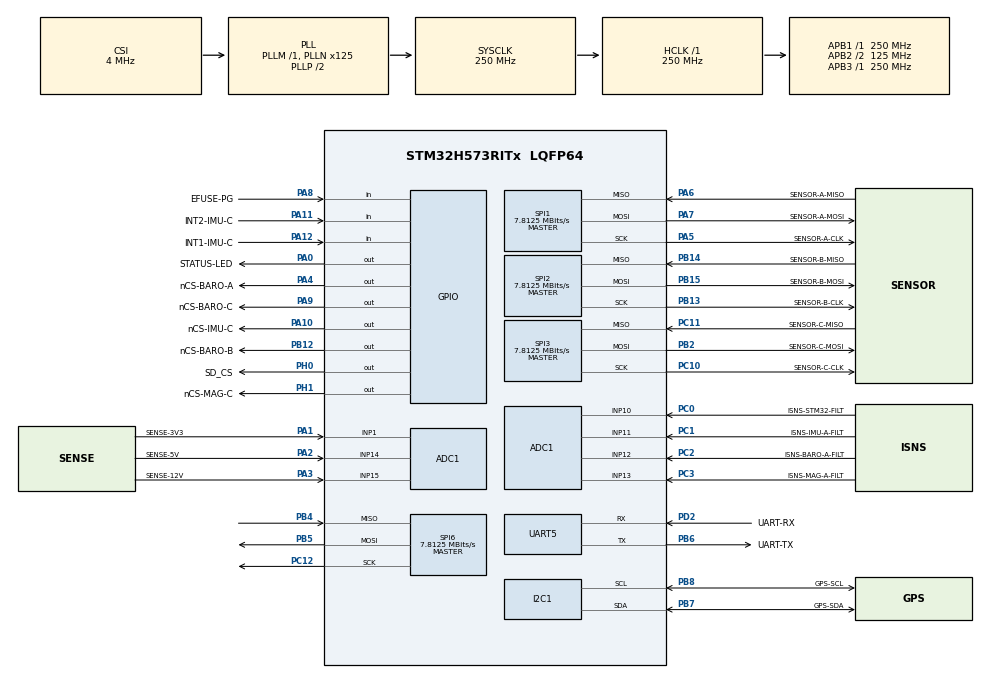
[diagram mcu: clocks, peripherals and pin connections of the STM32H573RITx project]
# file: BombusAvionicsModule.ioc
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ADC1.Channel-0\#ChannelRegularConversion=ADC_CHANNEL_13
ADC1.MonitoredBy-0\#ChannelRegularConversion=__NULL
ADC1.NbrOfConversionFlag=1
ADC1.OffsetNumber-0\#ChannelRegularConversion=ADC_OFFSET_NONE
ADC1.Rank-0\#ChannelRegularConversion=1
ADC1.SamplingTime-0\#ChannelRegularConversion=ADC_SAMPLETIME_2CYCLES_5
ADC1.master=1
BOOTPATH.BootPathName=LEGACY
BOOTPATH.UserSelectedBootPath=LEGACY
CORTEX_M33_NS.Number-Cortex_Memory_Protection_Unit_Region0_OTP_RO_AREAS_Settings=MPU_REGION_NUMBER0
CORTEX_M33_NS.default_mode_Activation=1
CORTEX_M33_NS.userName=CORTEX_M33
I2C1.Timing=0x60808CD3
Mcu.Family=STM32H5
Mcu.Name=STM32H573RITx
Mcu.Package=LQFP64
NVIC.PriorityGroup=NVIC_PRIORITYGROUP_4
PA0.GPIO_Label=STATUS-LED
PA0.Signal=GPIO_Output
PA1.GPIO_Label=SENSE-3V3
PA1.Signal=ADCx_INP1
PA10.GPIO_Label=nCS-IMU-C
PA10.Signal=GPIO_Output
PA11.GPIO_Label=INT2-IMU-C
PA11.Signal=GPIO_Input
PA12.GPIO_Label=INT1-IMU-C
PA12.Signal=GPIO_Input
PA13(JTMS/SWDIO).GPIO_Label=T_JTMS
PA13(JTMS/SWDIO).Mode=JTAG_4_pins
PA13(JTMS/SWDIO).Signal=DEBUG_JTMS-SWDIO
PA14(JTCK/SWCLK).GPIO_Label=T_JCLK
PA14(JTCK/SWCLK).Mode=JTAG_4_pins
PA14(JTCK/SWCLK).Signal=DEBUG_JTCK-SWCLK
PA15(JTDI).GPIO_Label=T_JTDI
PA15(JTDI).Mode=JTAG_4_pins
PA15(JTDI).Signal=DEBUG_JTDI
PA2.GPIO_Label=SENSE-5V
PA2.Signal=ADCx_INP14
PA3.GPIO_Label=SENSE-12V
PA3.Signal=ADCx_INP15
PA4.GPIO_Label=nCS-BARO-A
PA4.Signal=GPIO_Output
PA5.GPIO_Label=SENSOR-A-CLK
PA5.Mode=Full_Duplex_Master
PA5.Signal=SPI1_SCK
PA6.GPIO_Label=SENSOR-A-MISO
PA6.Mode=Full_Duplex_Master
PA6.Signal=SPI1_MISO
PA7.GPIO_Label=SENSOR-A-MOSI
PA7.Mode=Full_Duplex_Master
PA7.Signal=SPI1_MOSI
PA8.GPIO_Label=EFUSE-PG
PA8.Signal=GPIO_Input
PA9.GPIO_Label=nCS-BARO-C
PA9.Signal=GPIO_Output
PB12.GPIO_Label=nCS-BARO-B
PB12.Signal=GPIO_Output
PB13.GPIO_Label=SENSOR-B-CLK
PB13.Mode=Full_Duplex_Master
PB13.Signal=SPI2_SCK
PB14.GPIO_Label=SENSOR-B-MISO
PB14.Mode=Full_Duplex_Master
PB14.Signal=SPI2_MISO
PB15.GPIO_Label=SENSOR-B-MOSI
PB15.Mode=Full_Duplex_Master
PB15.Signal=SPI2_MOSI
PB2.GPIO_Label=SENSOR-C-MOSI
PB2.Mode=Full_Duplex_Master
PB2.Signal=SPI3_MOSI
PB3(JTDO/TRACESWO).GPIO_Label=T_JTDO
PB3(JTDO/TRACESWO).Mode=JTAG_4_pins
PB3(JTDO/TRACESWO).Signal=DEBUG_JTDO-SWO
PB4(NJTRST).Mode=Full_Duplex_Master
PB4(NJTRST).Signal=SPI6_MISO
PB5.Mode=Full_Duplex_Master
PB5.Signal=SPI6_MOSI
PB6.GPIO_Label=UART-TX
PB6.Mode=Asynchronous
PB6.Signal=UART5_TX
PB7.GPIO_Label=GPS-SDA
PB7.Mode=I2C
PB7.Signal=I2C1_SDA
PB8.GPIO_Label=GPS-SCL
PB8.Mode=I2C
PB8.Signal=I2C1_SCL
PC0.GPIO_Label=ISNS-STM32-FILT
PC0.Signal=ADCx_INP10
PC1.GPIO_Label=ISNS-IMU-A-FILT
PC1.Signal=ADCx_INP11
PC10.GPIO_Label=SENSOR-C-CLK
PC10.Mode=Full_Duplex_Master
PC10.Signal=SPI3_SCK
PC11.GPIO_Label=SENSOR-C-MISO
PC11.Mode=Full_Duplex_Master
PC11.Signal=SPI3_MISO
PC12.Mode=Full_Duplex_Master
PC12.Signal=SPI6_SCK
PC2.GPIO_Label=ISNS-BARO-A-FILT
PC2.Signal=ADCx_INP12
PC3.GPIO_Label=ISNS-MAG-A-FILT
PC3.Signal=ADCx_INP13
PD2.GPIO_Label=UART-RX
PD2.Mode=Asynchronous
PD2.Signal=UART5_RX
PH0-OSC_IN(PH0).GPIO_Label=SD_CS
PH0-OSC_IN(PH0).PinState=GPIO_PIN_SET
PH0-OSC_IN(PH0).Signal=GPIO_Output
PH1-OSC_OUT(PH1).GPIO_Label=nCS-MAG-C
PH1-OSC_OUT(PH1).Signal=GPIO_Output
ProjectManager.HeapSize=0x200
ProjectManager.StackSize=0x400
ProjectManager.TargetToolchain=STM32CubeIDE
RCC.ADCFreq_Value=250000000
RCC.AHBFreq_Value=250000000
RCC.APB1Freq_Value=250000000
RCC.APB1TimFreq_Value=250000000
RCC.APB2CLKDivider=RCC_HCLK_DIV2
RCC.APB2Freq_Value=125000000
RCC.APB2TimFreq_Value=250000000
RCC.APB3Freq_Value=250000000
RCC.CSI_VALUE=4000000
RCC.CortexFreq_Value=250000000
RCC.EPOD_VALUE=4000000
RCC.HCLKFreq_Value=250000000
RCC.HSE_VALUE=25000000
RCC.HSI48_VALUE=48000000
RCC.HSI_VALUE=64000000
RCC.LSE_VALUE=32768
RCC.LSIRC_VALUE=32000
RCC.PLL1Q=4
RCC.PLL2FRACN=0
RCC.PLL3FRACN=0
RCC.PLLFRACN=0
RCC.PLLN=125
RCC.SYSCLKFreq_VALUE=250000000
RCC.SYSCLKSource=RCC_SYSCLKSOURCE_PLLCLK
RCC.USBFreq_Value=48000000
RCC.VCOOutputFreq_Value=500000000
SH.ADCx_INP1.0=ADC1_INP1,IN1-Single-Ended
SH.ADCx_INP10.0=ADC1_INP10,IN10-Single-Ended
SH.ADCx_INP11.0=ADC1_INP11,IN11-Single-Ended
SH.ADCx_INP12.0=ADC1_INP12,IN12-Single-Ended
SH.ADCx_INP13.0=ADC1_INP13,IN13-Single-Ended
SH.ADCx_INP14.0=ADC1_INP14,IN14-Single-Ended
SH.ADCx_INP15.0=ADC1_INP15,IN15-Single-Ended
SPI1.BaudRatePrescaler=SPI_BAUDRATEPRESCALER_16
SPI1.CalculateBaudRate=7.8125 MBits/s
SPI1.DataSize=SPI_DATASIZE_8BIT
SPI1.Direction=SPI_DIRECTION_2LINES
SPI1.Mode=SPI_MODE_MASTER
SPI1.VirtualType=VM_MASTER
SPI2.BaudRatePrescaler=SPI_BAUDRATEPRESCALER_16
SPI2.CalculateBaudRate=7.8125 MBits/s
SPI2.DataSize=SPI_DATASIZE_8BIT
SPI2.Direction=SPI_DIRECTION_2LINES
SPI2.Mode=SPI_MODE_MASTER
SPI2.VirtualType=VM_MASTER
SPI3.BaudRatePrescaler=SPI_BAUDRATEPRESCALER_16
SPI3.CalculateBaudRate=7.8125 MBits/s
SPI3.DataSize=SPI_DATASIZE_8BIT
SPI3.Direction=SPI_DIRECTION_2LINES
SPI3.Mode=SPI_MODE_MASTER
SPI3.VirtualType=VM_MASTER
SPI6.BaudRatePrescaler=SPI_BAUDRATEPRESCALER_16
SPI6.CalculateBaudRate=7.8125 MBits/s
SPI6.DataSize=SPI_DATASIZE_8BIT
SPI6.Direction=SPI_DIRECTION_2LINES
SPI6.Mode=SPI_MODE_MASTER
SPI6.VirtualType=VM_MASTER
VP_BOOTPATH_VS_BOOTPATH.Mode=BP_Activate
VP_CORTEX_M33_NS_VS_Hclk.Mode=Hclk_Mode
VP_ICACHE_VS_ICACHE.Mode=DirectMappedCache
VP_MEMORYMAP_VS_MEMORYMAP.Mode=CurAppReg
VP_PWR_VS_LPOM.Mode=PowerOptimisation
VP_PWR_VS_SECSignals.Mode=Security/Privilege
board=custom

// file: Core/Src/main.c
/* USER CODE BEGIN Header */
/**
  ******************************************************************************
  * @file           : main.c
  * @brief          : Main program body
  ******************************************************************************
  * @attention
  *
  * Copyright (c) 2026 STMicroelectronics.
  * All rights reserved.
  *
  * This software is licensed under terms that can be found in the LICENSE file
  * in the root directory of this software component.
  * If no LICENSE file comes with this software, it is provided AS-IS.
  *
  ******************************************************************************
  */
/* USER CODE END Header */
#include "main.h"

/* USER CODE BEGIN Includes */

#include <stddef.h>
#include <string.h>
#include "ASM330LHGB1.h"
#include "LIS2MDL.h"
#include "MS5611.h"
#include "ekf.h"
#include "sd_logger.h"

/* USER CODE END Includes */

ADC_HandleTypeDef hadc1;

I2C_HandleTypeDef hi2c1;

SPI_HandleTypeDef hspi1;
SPI_HandleTypeDef hspi2;
SPI_HandleTypeDef hspi3;
SPI_HandleTypeDef hspi6;

UART_HandleTypeDef huart5;

void SystemClock_Config(void);
static void MPU_Config(void);
static void MX_GPIO_Init(void);
static void MX_ADC1_Init(void);
static void MX_I2C1_Init(void);
static void MX_ICACHE_Init(void);
static void MX_SPI1_Init(void);
static void MX_SPI2_Init(void);
static void MX_SPI3_Init(void);
static void MX_SPI6_Init(void);
static void MX_UART5_Init(void);

/* USER CODE BEGIN 0 */

#define BAM_EKF_PERIOD_MS 5U
#define BAM_MAG_PERIOD_MS 10U

static const float32_t dt = BAM_EKF_PERIOD_MS / 1000.0f;

/* Group C sensors share SPI3. Each device has its own active-low select. */
static spi_device_t imuSPI = {&hspi3, nCS_IMU_C_GPIO_Port, nCS_IMU_C_Pin};
static spi_device_t magSPI = {&hspi3, nCS_MAG_C_GPIO_Port, nCS_MAG_C_Pin};
static spi_device_t baroSPI = {&hspi3, nCS_BARO_C_GPIO_Port, nCS_BARO_C_Pin};
static imu_handler_t imuHandler;
static mag_handler_t magHandler;
static baro_handle_t baroHandler = {
  .pressureAccuracy = LOWEST_PRESS,
  .tempAccuracy = LOWEST_TEMP,
  .convertTime = LOWEST_TIME,
};

/* RECO's double buffer, now used locally by BAM. */
static reco_message_t doubleBuffReco[2];
static uint8_t writeIdx = 1U;
static volatile uint8_t sendIdx;

static fc_message_t gpsInput;
static volatile bool launchPending;
static bool launched;
static volatile uint32_t launchCmdTime;

volatile atomic_uchar magEventCount;
volatile atomic_uchar baroEventCount;

_Static_assert(offsetof(reco_message_t, linAccel) == sizeof(state_vector_t),
               "Snapshot must begin with the state vector");

#ifdef PERF_ANALYSIS
static perf_t perf;
#endif

static void reset_filter(arm_matrix_instance_f32* xFilter,
          arm_matrix_instance_f32* PFilter,
          arm_matrix_instance_f32* QFilter,
          arm_matrix_instance_f32* RFilter,
          arm_matrix_instance_f32* RqFilter,
          fmf_first_order_t* groundBaro,
          fmf_first_order_t* groundGPS,
          fmf_second_order_t* flightBaro,
          float32_t* Rb) {

  // set x0, P, Q, R
  get_x0(xFilter);
  get_P0(PFilter);
  get_Q0(QFilter);
  get_R0(RFilter);
  get_Rq0(RqFilter);

  // Initialize FMF by setting our state estimates
  // to the altitude in our initial state vector
  // and set the gains for each of the FMF

  // xPrev.pData[6] is our initial state vector altitude
  float32_t initialAltitude = xFilter->pData[6];

  fmf_first_order_init(groundBaro, initialAltitude, get_initial_baro_ground_beta());
  fmf_first_order_init(groundGPS, initialAltitude, get_initial_gps_ground_beta());
  fmf_second_order_init(flightBaro, initialAltitude, get_initial_baro_flight_beta(), dt);

  *Rb = get_Rb0();
}

/* USER CODE END 0 */

int main(void)
{

  /* MCU Configuration--------------------------------------------------------*/

  /* MPU Configuration--------------------------------------------------------*/
  MPU_Config();

  /* Reset of all peripherals, Initializes the Flash interface and the Systick. */
  HAL_Init();

  /* Configure the system clock */
  SystemClock_Config();

  /* Initialize all configured peripherals */
  MX_GPIO_Init();
  MX_ADC1_Init();
  MX_I2C1_Init();
  MX_ICACHE_Init();
  MX_SPI1_Init();
  MX_SPI2_Init();
  MX_SPI3_Init();
  MX_SPI6_Init();
  MX_UART5_Init();
  /* USER CODE BEGIN 2 */

  HAL_GPIO_WritePin(nCS_IMU_C_GPIO_Port, nCS_IMU_C_Pin, GPIO_PIN_SET);
  HAL_GPIO_WritePin(nCS_MAG_C_GPIO_Port, nCS_MAG_C_Pin, GPIO_PIN_SET);
  HAL_GPIO_WritePin(nCS_BARO_C_GPIO_Port, nCS_BARO_C_Pin, GPIO_PIN_SET);

  setIMUFlags(&imuHandler);
  set_lis2mdl_flags(&magHandler);
  if (initializeIMU(&imuSPI, &imuHandler) != IMU_COMMS_OK ||
      lis2mdl_initialize_mag(&magSPI, &magHandler) != MAG_COMMS_OK ||
      initBarometer(&baroSPI, &baroHandler) != BARO_COMMS_OK ||
      getCurrTempPressure(&baroSPI, &baroHandler) != BARO_COMMS_OK) {
    Error_Handler();
  }

#ifdef PERF_ANALYSIS
  perf_t *perf_data = &perf;
  CoreDebug->DEMCR |= CoreDebug_DEMCR_TRCENA_Msk;
  DWT->CYCCNT = 0;
  DWT->CTRL |= DWT_CTRL_CYCCNTENA_Msk;
  perf_init(perf_data);
#endif

  CREATE_MAT_F32(xPrev, 22, 1);
  CREATE_MAT_F32(PPrev, 21, 21);
  CREATE_MAT_F32(xPlus, 22, 1);
  CREATE_MAT_F32(PPlus, 21, 21);
  CREATE_MAT_F32(H, 3, 21);
  CREATE_MAT_F32(Hb, 1, 21);
  CREATE_MAT_F32(R, 3, 3);
  CREATE_MAT_F32(Rq, 3, 3);
  CREATE_MAT_F32(Q, 12, 12);
  CREATE_MAT_F32(magI, 3, 1);
  float32_t Rb;
  fmf_first_order_t groundBaro, groundGPS;
  fmf_second_order_t flightBaro;
  ekf_init(&xPrev, &PPrev, &H, &Hb, &R, &Rq, &Q, &magI,
           &groundBaro, &groundGPS, &flightBaro, &Rb, dt);

  float32_t mag[3] = {0};
  uint32_t lastEkfMs = HAL_GetTick();
  uint32_t lastMagMs = lastEkfMs - BAM_MAG_PERIOD_MS;
  uint32_t lastBaroMs = lastEkfMs;
  uint32_t numIterations = 0U;
  bool fallbackDR = false;
  uint32_t launchTime = 0U;
  uint32_t drogueAltStart = UINT32_MAX;
  uint32_t mainAltStart = UINT32_MAX;
  bool readingPressure = true;
  bool baroConverting = false;

  SD_Logger_Init();

  /* USER CODE END 2 */

  /* Infinite loop */
  while (1)
  {

    /* USER CODE BEGIN 3 */

    SD_Logger_PollStop();

    uint32_t now = HAL_GetTick();
    if (now - lastMagMs >= BAM_MAG_PERIOD_MS) {
      lastMagMs = now;
      if (lis2mdl_get_mag_data(&magSPI, &magHandler, mag) == MAG_COMMS_OK) {
        atomic_store(&magEventCount, 1U);
      }
    }

    if (baroConverting &&
        now - lastBaroMs >= (uint32_t)baroHandler.convertTime + 1U) {
      if (readingPressure) {
        if (calculatePress(&baroSPI, &baroHandler) == BARO_COMMS_OK) {
          atomic_store(&baroEventCount, baroHandler.pressure > 1100.0f);
        }
      } else {
        (void)calculateTemp(&baroSPI, &baroHandler);
      }
      readingPressure = !readingPressure;
      baroConverting = false;
    }
    if (!baroConverting) {
      baro_status_t status = readingPressure
          ? startPressureConversion(&baroSPI, &baroHandler)
          : startTemperatureConversion(&baroSPI, &baroHandler);
      lastBaroMs = HAL_GetTick();
      baroConverting = status == BARO_COMMS_OK;
    }

    now = HAL_GetTick();
    uint32_t elapsed = now - lastEkfMs;
    if (elapsed < BAM_EKF_PERIOD_MS) {
      continue;
    }
    lastEkfMs = now;

    if (launchPending && now - launchCmdTime >= 1400U) {
      launchPending = false;
      launched = true;
      launchTime = now;
      reset_filter(&xPrev, &PPrev, &Q, &R, &Rq,
                   &groundBaro, &groundGPS, &flightBaro, &Rb);
    }

    doubleBuffReco[writeIdx] = doubleBuffReco[sendIdx];
    reco_message_t *sample = &doubleBuffReco[writeIdx];

    float32_t acceleration[3], angularRate[3], lla[3];
    if (getIMUData(&imuSPI, &imuHandler, angularRate, acceleration) == IMU_COMMS_OK) {
      arm_matrix_instance_f32 aMeas, wMeas, llaMeas, magMeas;
      memcpy(lla, gpsInput.gpsLLA, sizeof lla);
      arm_mat_init_f32(&aMeas, 3, 1, acceleration);
      arm_mat_init_f32(&wMeas, 3, 1, angularRate);
      arm_mat_init_f32(&llaMeas, 3, 1, lla);
      arm_mat_init_f32(&magMeas, 3, 1, mag);

      if (!launched && gpsInput.valid) {
        sample->fading_memory_gps = fmf_first_order(&groundGPS, lla[2]);
      }
      float32_t baroAlt = pressure_altimeter_corrected(baroHandler.pressure);
      if (atomic_load(&baroEventCount)) {
        if (launched) {
          fmf_second_order(&flightBaro, baroAlt);
          sample->fading_memory_baro = flightBaro.currentStateEst;
        } else {
          sample->fading_memory_baro = fmf_first_order(&groundBaro, baroAlt);
        }
      }
      update_EKF(&xPrev, &PPrev, &Q, &H, &R, &Rq, Rb, &aMeas,
                 &wMeas, &llaMeas, &magMeas, baroHandler.pressure,
                 &magI, we, dt, &xPlus, &PPlus, xPlusData, PPlusData,
                 &gpsInput, &fallbackDR, numIterations PERF_PASS);
      /* Retain RECO's decision flags for telemetry. */
      if (launched) {
        uint32_t flightMs = now - launchTime;
        float32_t deltaAlt = xPlus.pData[6] - xPrev.pData[6];
        if (drougeChuteCheck(deltaAlt, &drogueAltStart, now) && !fallbackDR) {
          if (flightMs < 52000U) {
            fallbackDR = true;
          } else {
            sample->stage1En = 1U;
          }
        }
        if (flightMs > 52000U && mainChuteCheck(baroAlt, &mainAltStart, now)) {
          sample->stage2En = 1U;
        }
        if (flightMs >= 110000U) {
          sample->stage1En = 1U;
        }
      }
      copy_mat_f32(&xPlus, &xPrev);
      copy_mat_f32(&PPlus, &PPrev);
      memcpy(sample->linAccel, acceleration, sizeof acceleration);
      memcpy(sample->angularRate, angularRate, sizeof angularRate);
    }

    memcpy(sample, xPrev.pData, sizeof(state_vector_t));
    memcpy(sample->magData, mag, sizeof mag);
    sample->pressure = baroHandler.pressure;
    sample->temperature = baroHandler.temperature;
    sample->blewUp = fallbackDR;
    sample->received = launched || launchPending;
    ++numIterations;
    sendIdx = writeIdx;
    writeIdx ^= 1U;

    SD_Logger_Record(&doubleBuffReco[sendIdx]);
  }
  /* USER CODE END 3 */
}

void SystemClock_Config(void)
{
  RCC_OscInitTypeDef RCC_OscInitStruct = {0};
  RCC_ClkInitTypeDef RCC_ClkInitStruct = {0};

  /** Configure the main internal regulator output voltage
  */
  __HAL_PWR_VOLTAGESCALING_CONFIG(PWR_REGULATOR_VOLTAGE_SCALE0);

  while(!__HAL_PWR_GET_FLAG(PWR_FLAG_VOSRDY)) {}

  /** Initializes the RCC Oscillators according to the specified parameters
  * in the RCC_OscInitTypeDef structure.
  */
  RCC_OscInitStruct.OscillatorType = RCC_OSCILLATORTYPE_CSI;
  RCC_OscInitStruct.CSIState = RCC_CSI_ON;
  RCC_OscInitStruct.CSICalibrationValue = RCC_CSICALIBRATION_DEFAULT;
  RCC_OscInitStruct.PLL.PLLState = RCC_PLL_ON;
  RCC_OscInitStruct.PLL.PLLSource = RCC_PLL1_SOURCE_CSI;
  RCC_OscInitStruct.PLL.PLLM = 1;
  RCC_OscInitStruct.PLL.PLLN = 125;
  RCC_OscInitStruct.PLL.PLLP = 2;
  RCC_OscInitStruct.PLL.PLLQ = 4;
  RCC_OscInitStruct.PLL.PLLR = 2;
  RCC_OscInitStruct.PLL.PLLRGE = RCC_PLL1_VCIRANGE_2;
  RCC_OscInitStruct.PLL.PLLVCOSEL = RCC_PLL1_VCORANGE_WIDE;
  RCC_OscInitStruct.PLL.PLLFRACN = 0;
  if (HAL_RCC_OscConfig(&RCC_OscInitStruct) != HAL_OK)
  {
    Error_Handler();
  }

  /** Initializes the CPU, AHB and APB buses clocks
  */
  RCC_ClkInitStruct.ClockType = RCC_CLOCKTYPE_HCLK|RCC_CLOCKTYPE_SYSCLK
                              |RCC_CLOCKTYPE_PCLK1|RCC_CLOCKTYPE_PCLK2
                              |RCC_CLOCKTYPE_PCLK3;
  RCC_ClkInitStruct.SYSCLKSource = RCC_SYSCLKSOURCE_PLLCLK;
  RCC_ClkInitStruct.AHBCLKDivider = RCC_SYSCLK_DIV1;
  RCC_ClkInitStruct.APB1CLKDivider = RCC_HCLK_DIV1;
  RCC_ClkInitStruct.APB2CLKDivider = RCC_HCLK_DIV2;
  RCC_ClkInitStruct.APB3CLKDivider = RCC_HCLK_DIV1;

  if (HAL_RCC_ClockConfig(&RCC_ClkInitStruct, FLASH_LATENCY_5) != HAL_OK)
  {
    Error_Handler();
  }

  /** Configure the programming delay
  */
  __HAL_FLASH_SET_PROGRAM_DELAY(FLASH_PROGRAMMING_DELAY_2);
}

static void MX_ADC1_Init(void)
{

  ADC_ChannelConfTypeDef sConfig = {0};

  /** Common config
  */
  hadc1.Instance = ADC1;
  hadc1.Init.ClockPrescaler = ADC_CLOCK_ASYNC_DIV4;
  hadc1.Init.Resolution = ADC_RESOLUTION_12B;
  hadc1.Init.DataAlign = ADC_DATAALIGN_RIGHT;
  hadc1.Init.ScanConvMode = ADC_SCAN_DISABLE;
  hadc1.Init.EOCSelection = ADC_EOC_SINGLE_CONV;
  hadc1.Init.LowPowerAutoWait = DISABLE;
  hadc1.Init.ContinuousConvMode = DISABLE;
  hadc1.Init.NbrOfConversion = 1;
  hadc1.Init.DiscontinuousConvMode = DISABLE;
  hadc1.Init.ExternalTrigConv = ADC_SOFTWARE_START;
  hadc1.Init.ExternalTrigConvEdge = ADC_EXTERNALTRIGCONVEDGE_NONE;
  hadc1.Init.DMAContinuousRequests = DISABLE;
  hadc1.Init.SamplingMode = ADC_SAMPLING_MODE_NORMAL;
  hadc1.Init.Overrun = ADC_OVR_DATA_PRESERVED;
  hadc1.Init.OversamplingMode = DISABLE;
  if (HAL_ADC_Init(&hadc1) != HAL_OK)
  {
    Error_Handler();
  }

  /** Configure Regular Channel
  */
  sConfig.Channel = ADC_CHANNEL_13;
  sConfig.Rank = ADC_REGULAR_RANK_1;
  sConfig.SamplingTime = ADC_SAMPLETIME_2CYCLES_5;
  sConfig.SingleDiff = ADC_SINGLE_ENDED;
  sConfig.OffsetNumber = ADC_OFFSET_NONE;
  sConfig.Offset = 0;
  if (HAL_ADC_ConfigChannel(&hadc1, &sConfig) != HAL_OK)
  {
    Error_Handler();
  }

}

static void MX_I2C1_Init(void)
{

  hi2c1.Instance = I2C1;
  hi2c1.Init.Timing = 0x60808CD3;
  hi2c1.Init.OwnAddress1 = 0;
  hi2c1.Init.AddressingMode = I2C_ADDRESSINGMODE_7BIT;
  hi2c1.Init.DualAddressMode = I2C_DUALADDRESS_DISABLE;
  hi2c1.Init.OwnAddress2 = 0;
  hi2c1.Init.OwnAddress2Masks = I2C_OA2_NOMASK;
  hi2c1.Init.GeneralCallMode = I2C_GENERALCALL_DISABLE;
  hi2c1.Init.NoStretchMode = I2C_NOSTRETCH_DISABLE;
  if (HAL_I2C_Init(&hi2c1) != HAL_OK)
  {
    Error_Handler();
  }

  /** Configure Analogue filter
  */
  if (HAL_I2CEx_ConfigAnalogFilter(&hi2c1, I2C_ANALOGFILTER_ENABLE) != HAL_OK)
  {
    Error_Handler();
  }

  /** Configure Digital filter
  */
  if (HAL_I2CEx_ConfigDigitalFilter(&hi2c1, 0) != HAL_OK)
  {
    Error_Handler();
  }

}

static void MX_ICACHE_Init(void)
{

  /** Enable instruction cache in 1-way (direct mapped cache)
  */
  if (HAL_ICACHE_ConfigAssociativityMode(ICACHE_1WAY) != HAL_OK)
  {
    Error_Handler();
  }
  if (HAL_ICACHE_Enable() != HAL_OK)
  {
    Error_Handler();
  }

}

static void MX_SPI1_Init(void)
{

  /* SPI1 parameter configuration*/
  hspi1.Instance = SPI1;
  hspi1.Init.Mode = SPI_MODE_MASTER;
  hspi1.Init.Direction = SPI_DIRECTION_2LINES;
  hspi1.Init.DataSize = SPI_DATASIZE_8BIT;
  hspi1.Init.CLKPolarity = SPI_POLARITY_LOW;
  hspi1.Init.CLKPhase = SPI_PHASE_1EDGE;
  hspi1.Init.NSS = SPI_NSS_SOFT;
  hspi1.Init.BaudRatePrescaler = SPI_BAUDRATEPRESCALER_16;
  hspi1.Init.FirstBit = SPI_FIRSTBIT_MSB;
  hspi1.Init.TIMode = SPI_TIMODE_DISABLE;
  hspi1.Init.CRCCalculation = SPI_CRCCALCULATION_DISABLE;
  hspi1.Init.CRCPolynomial = 0x7;
  hspi1.Init.NSSPMode = SPI_NSS_PULSE_ENABLE;
  hspi1.Init.NSSPolarity = SPI_NSS_POLARITY_LOW;
  hspi1.Init.FifoThreshold = SPI_FIFO_THRESHOLD_01DATA;
  hspi1.Init.MasterSSIdleness = SPI_MASTER_SS_IDLENESS_00CYCLE;
  hspi1.Init.MasterInterDataIdleness = SPI_MASTER_INTERDATA_IDLENESS_00CYCLE;
  hspi1.Init.MasterReceiverAutoSusp = SPI_MASTER_RX_AUTOSUSP_DISABLE;
  hspi1.Init.MasterKeepIOState = SPI_MASTER_KEEP_IO_STATE_DISABLE;
  hspi1.Init.IOSwap = SPI_IO_SWAP_DISABLE;
  hspi1.Init.ReadyMasterManagement = SPI_RDY_MASTER_MANAGEMENT_INTERNALLY;
  hspi1.Init.ReadyPolarity = SPI_RDY_POLARITY_HIGH;
  if (HAL_SPI_Init(&hspi1) != HAL_OK)
  {
    Error_Handler();
  }

}

static void MX_SPI2_Init(void)
{

  /* SPI2 parameter configuration*/
  hspi2.Instance = SPI2;
  hspi2.Init.Mode = SPI_MODE_MASTER;
  hspi2.Init.Direction = SPI_DIRECTION_2LINES;
  hspi2.Init.DataSize = SPI_DATASIZE_8BIT;
  hspi2.Init.CLKPolarity = SPI_POLARITY_LOW;
  hspi2.Init.CLKPhase = SPI_PHASE_1EDGE;
  hspi2.Init.NSS = SPI_NSS_SOFT;
  hspi2.Init.BaudRatePrescaler = SPI_BAUDRATEPRESCALER_16;
  hspi2.Init.FirstBit = SPI_FIRSTBIT_MSB;
  hspi2.Init.TIMode = SPI_TIMODE_DISABLE;
  hspi2.Init.CRCCalculation = SPI_CRCCALCULATION_DISABLE;
  hspi2.Init.CRCPolynomial = 0x7;
  hspi2.Init.NSSPMode = SPI_NSS_PULSE_ENABLE;
  hspi2.Init.NSSPolarity = SPI_NSS_POLARITY_LOW;
  hspi2.Init.FifoThreshold = SPI_FIFO_THRESHOLD_01DATA;
  hspi2.Init.MasterSSIdleness = SPI_MASTER_SS_IDLENESS_00CYCLE;
  hspi2.Init.MasterInterDataIdleness = SPI_MASTER_INTERDATA_IDLENESS_00CYCLE;
  hspi2.Init.MasterReceiverAutoSusp = SPI_MASTER_RX_AUTOSUSP_DISABLE;
  hspi2.Init.MasterKeepIOState = SPI_MASTER_KEEP_IO_STATE_DISABLE;
  hspi2.Init.IOSwap = SPI_IO_SWAP_DISABLE;
  hspi2.Init.ReadyMasterManagement = SPI_RDY_MASTER_MANAGEMENT_INTERNALLY;
  hspi2.Init.ReadyPolarity = SPI_RDY_POLARITY_HIGH;
  if (HAL_SPI_Init(&hspi2) != HAL_OK)
  {
    Error_Handler();
  }

}

static void MX_SPI3_Init(void)
{

  /* SPI3 parameter configuration*/
  hspi3.Instance = SPI3;
  hspi3.Init.Mode = SPI_MODE_MASTER;
  hspi3.Init.Direction = SPI_DIRECTION_2LINES;
  hspi3.Init.DataSize = SPI_DATASIZE_8BIT;
  hspi3.Init.CLKPolarity = SPI_POLARITY_LOW;
  hspi3.Init.CLKPhase = SPI_PHASE_1EDGE;
  hspi3.Init.NSS = SPI_NSS_SOFT;
  hspi3.Init.BaudRatePrescaler = SPI_BAUDRATEPRESCALER_16;
  hspi3.Init.FirstBit = SPI_FIRSTBIT_MSB;
  hspi3.Init.TIMode = SPI_TIMODE_DISABLE;
  hspi3.Init.CRCCalculation = SPI_CRCCALCULATION_DISABLE;
  hspi3.Init.CRCPolynomial = 0x7;
  hspi3.Init.NSSPMode = SPI_NSS_PULSE_ENABLE;
  hspi3.Init.NSSPolarity = SPI_NSS_POLARITY_LOW;
  hspi3.Init.FifoThreshold = SPI_FIFO_THRESHOLD_01DATA;
  hspi3.Init.MasterSSIdleness = SPI_MASTER_SS_IDLENESS_00CYCLE;
  hspi3.Init.MasterInterDataIdleness = SPI_MASTER_INTERDATA_IDLENESS_00CYCLE;
  hspi3.Init.MasterReceiverAutoSusp = SPI_MASTER_RX_AUTOSUSP_DISABLE;
  hspi3.Init.MasterKeepIOState = SPI_MASTER_KEEP_IO_STATE_DISABLE;
  hspi3.Init.IOSwap = SPI_IO_SWAP_DISABLE;
  hspi3.Init.ReadyMasterManagement = SPI_RDY_MASTER_MANAGEMENT_INTERNALLY;
  hspi3.Init.ReadyPolarity = SPI_RDY_POLARITY_HIGH;
  if (HAL_SPI_Init(&hspi3) != HAL_OK)
  {
    Error_Handler();
  }

}

static void MX_SPI6_Init(void)
{

  /* SPI6 parameter configuration*/
  hspi6.Instance = SPI6;
  hspi6.Init.Mode = SPI_MODE_MASTER;
  hspi6.Init.Direction = SPI_DIRECTION_2LINES;
  hspi6.Init.DataSize = SPI_DATASIZE_8BIT;
  hspi6.Init.CLKPolarity = SPI_POLARITY_LOW;
  hspi6.Init.CLKPhase = SPI_PHASE_1EDGE;
  hspi6.Init.NSS = SPI_NSS_SOFT;
  hspi6.Init.BaudRatePrescaler = SPI_BAUDRATEPRESCALER_16;
  hspi6.Init.FirstBit = SPI_FIRSTBIT_MSB;
  hspi6.Init.TIMode = SPI_TIMODE_DISABLE;
  hspi6.Init.CRCCalculation = SPI_CRCCALCULATION_DISABLE;
  hspi6.Init.CRCPolynomial = 0x7;
  hspi6.Init.NSSPMode = SPI_NSS_PULSE_ENABLE;
  hspi6.Init.NSSPolarity = SPI_NSS_POLARITY_LOW;
  hspi6.Init.FifoThreshold = SPI_FIFO_THRESHOLD_01DATA;
  hspi6.Init.MasterSSIdleness = SPI_MASTER_SS_IDLENESS_00CYCLE;
  hspi6.Init.MasterInterDataIdleness = SPI_MASTER_INTERDATA_IDLENESS_00CYCLE;
  hspi6.Init.MasterReceiverAutoSusp = SPI_MASTER_RX_AUTOSUSP_DISABLE;
  hspi6.Init.MasterKeepIOState = SPI_MASTER_KEEP_IO_STATE_DISABLE;
  hspi6.Init.IOSwap = SPI_IO_SWAP_DISABLE;
  hspi6.Init.ReadyMasterManagement = SPI_RDY_MASTER_MANAGEMENT_INTERNALLY;
  hspi6.Init.ReadyPolarity = SPI_RDY_POLARITY_HIGH;
  if (HAL_SPI_Init(&hspi6) != HAL_OK)
  {
    Error_Handler();
  }

}

static void MX_UART5_Init(void)
{

  huart5.Instance = UART5;
  huart5.Init.BaudRate = 115200;
  huart5.Init.WordLength = UART_WORDLENGTH_8B;
  huart5.Init.StopBits = UART_STOPBITS_1;
  huart5.Init.Parity = UART_PARITY_NONE;
  huart5.Init.Mode = UART_MODE_TX_RX;
  huart5.Init.HwFlowCtl = UART_HWCONTROL_NONE;
  huart5.Init.OverSampling = UART_OVERSAMPLING_16;
  huart5.Init.OneBitSampling = UART_ONE_BIT_SAMPLE_DISABLE;
  huart5.Init.ClockPrescaler = UART_PRESCALER_DIV1;
  huart5.AdvancedInit.AdvFeatureInit = UART_ADVFEATURE_NO_INIT;
  if (HAL_UART_Init(&huart5) != HAL_OK)
  {
    Error_Handler();
  }
  if (HAL_UARTEx_SetTxFifoThreshold(&huart5, UART_TXFIFO_THRESHOLD_1_8) != HAL_OK)
  {
    Error_Handler();
  }
  if (HAL_UARTEx_SetRxFifoThreshold(&huart5, UART_RXFIFO_THRESHOLD_1_8) != HAL_OK)
  {
    Error_Handler();
  }
  if (HAL_UARTEx_DisableFifoMode(&huart5) != HAL_OK)
  {
    Error_Handler();
  }

}

static void MX_GPIO_Init(void)
{
  GPIO_InitTypeDef GPIO_InitStruct = {0};

  /* GPIO Ports Clock Enable */
  __HAL_RCC_GPIOH_CLK_ENABLE();
  __HAL_RCC_GPIOC_CLK_ENABLE();
  __HAL_RCC_GPIOA_CLK_ENABLE();
  __HAL_RCC_GPIOB_CLK_ENABLE();
  __HAL_RCC_GPIOD_CLK_ENABLE();

  /*Configure GPIO pin Output Level */
  HAL_GPIO_WritePin(SD_CS_GPIO_Port, SD_CS_Pin, GPIO_PIN_SET);

  /*Configure GPIO pin Output Level */
  HAL_GPIO_WritePin(nCS_MAG_C_GPIO_Port, nCS_MAG_C_Pin, GPIO_PIN_RESET);

  /*Configure GPIO pin Output Level */
  HAL_GPIO_WritePin(GPIOA, STATUS_LED_Pin|nCS_BARO_A_Pin|nCS_BARO_C_Pin|nCS_IMU_C_Pin, GPIO_PIN_RESET);

  /*Configure GPIO pin Output Level */
  HAL_GPIO_WritePin(nCS_BARO_B_GPIO_Port, nCS_BARO_B_Pin, GPIO_PIN_RESET);

  /*Configure GPIO pins : SD_CS_Pin nCS_MAG_C_Pin */
  GPIO_InitStruct.Pin = SD_CS_Pin|nCS_MAG_C_Pin;
  GPIO_InitStruct.Mode = GPIO_MODE_OUTPUT_PP;
  GPIO_InitStruct.Pull = GPIO_NOPULL;
  GPIO_InitStruct.Speed = GPIO_SPEED_FREQ_LOW;
  HAL_GPIO_Init(GPIOH, &GPIO_InitStruct);

  /*Configure GPIO pins : STATUS_LED_Pin nCS_BARO_A_Pin nCS_BARO_C_Pin nCS_IMU_C_Pin */
  GPIO_InitStruct.Pin = STATUS_LED_Pin|nCS_BARO_A_Pin|nCS_BARO_C_Pin|nCS_IMU_C_Pin;
  GPIO_InitStruct.Mode = GPIO_MODE_OUTPUT_PP;
  GPIO_InitStruct.Pull = GPIO_NOPULL;
  GPIO_InitStruct.Speed = GPIO_SPEED_FREQ_LOW;
  HAL_GPIO_Init(GPIOA, &GPIO_InitStruct);

  /*Configure GPIO pin : nCS_BARO_B_Pin */
  GPIO_InitStruct.Pin = nCS_BARO_B_Pin;
  GPIO_InitStruct.Mode = GPIO_MODE_OUTPUT_PP;
  GPIO_InitStruct.Pull = GPIO_NOPULL;
  GPIO_InitStruct.Speed = GPIO_SPEED_FREQ_LOW;
  HAL_GPIO_Init(nCS_BARO_B_GPIO_Port, &GPIO_InitStruct);

  /*Configure GPIO pins : EFUSE_PG_Pin INT2_IMU_C_Pin INT1_IMU_C_Pin */
  GPIO_InitStruct.Pin = EFUSE_PG_Pin|INT2_IMU_C_Pin|INT1_IMU_C_Pin;
  GPIO_InitStruct.Mode = GPIO_MODE_INPUT;
  GPIO_InitStruct.Pull = GPIO_NOPULL;
  HAL_GPIO_Init(GPIOA, &GPIO_InitStruct);

}

 /* MPU Configuration */

void MPU_Config(void)
{
  MPU_Region_InitTypeDef MPU_InitStruct = {0};
  MPU_Attributes_InitTypeDef MPU_AttributesInit = {0};

  /* Disables the MPU */
  HAL_MPU_Disable();

  /** Initializes and configures the Region 0 and the memory to be protected
  */
  MPU_InitStruct.Enable = MPU_REGION_ENABLE;
  MPU_InitStruct.Number = MPU_REGION_NUMBER0;
  MPU_InitStruct.BaseAddress = 0x08FFF000;
  MPU_InitStruct.LimitAddress = 0x08FFFFFF;
  MPU_InitStruct.AttributesIndex = MPU_ATTRIBUTES_NUMBER0;
  MPU_InitStruct.AccessPermission = MPU_REGION_ALL_RO;
  MPU_InitStruct.DisableExec = MPU_INSTRUCTION_ACCESS_DISABLE;
  MPU_InitStruct.IsShareable = MPU_ACCESS_NOT_SHAREABLE;

  HAL_MPU_ConfigRegion(&MPU_InitStruct);

  /** Initializes and configures the Attribute 0 and the memory to be protected
  */
  MPU_AttributesInit.Number = MPU_ATTRIBUTES_NUMBER0;
  MPU_AttributesInit.Attributes = INNER_OUTER(MPU_NOT_CACHEABLE);

  HAL_MPU_ConfigMemoryAttributes(&MPU_AttributesInit);
  /* Enables the MPU */
  HAL_MPU_Enable(MPU_PRIVILEGED_DEFAULT);

}

void Error_Handler(void)
{
  __disable_irq();
  while (1)
  {
  }
}
